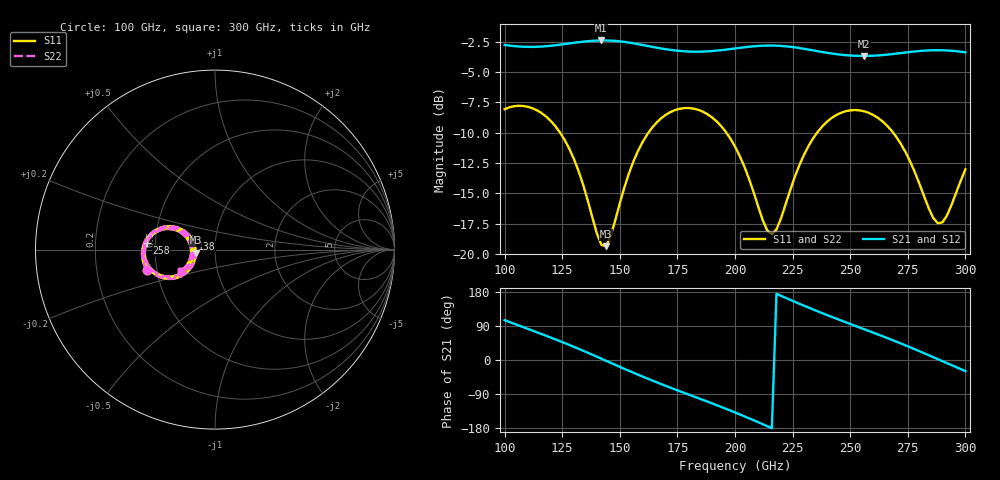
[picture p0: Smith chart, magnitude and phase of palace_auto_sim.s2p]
#  GHZ S DB R 50
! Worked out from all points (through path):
!   101 points, 100 GHz to 300 GHz, reference 50 ohm
!   highest |S21| = -2.40 dB at 142 GHz (marker M1); lowest = -3.7 dB at 256 GHz (marker M2)
!   group delay of S21, straight-line fit = 6.87 ps
!   lowest |S11| = -19.4 dB at 144 GHz (marker M3), VSWR 1.24, Z = 40.4 - j1.46 ohm
!   |S11| at or under -10 dB: 124.1 GHz to 162.5 GHz (38.37 GHz wide, 26.8 % of centre); 196.2 GHz to 235.7 GHz (39.43 GHz wide, 18.3 % of centre); 268.6 GHz to end of sweep
!   |S22| runs from -19.4 to -7.8 dB; largest |S21 - S12| = 8.7e-14
!   S11 on the Smith chart (normalised r, x): 100 GHz: 0.44, -0.12; 138 GHz: 0.77, +0.10; 258 GHz: 0.45, +0.04; 300 GHz: 0.66, -0.16
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100  -8.06 -162.9  -2.77 105.2  -2.77 105.2  -8.06 -163.0
118  -8.67 165.8  -2.88 64.0  -2.88 64.0  -8.67 165.8
126  -10.58 153.9  -2.70 44.9  -2.70 44.9  -10.58 153.8
134  -14.24 148.5  -2.51 24.7  -2.51 24.7  -14.25 148.5
138  -16.93 154.5  -2.44 14.1  -2.44 14.1  -16.94 154.5
142  -19.24 174.8  -2.40 3.5  -2.40 3.5  -19.27 174.8
144  -19.35 -170.4  -2.40 -1.9  -2.40 -1.9  -19.37 -170.4
156  -12.33 -141.8  -2.64 -33.8  -2.64 -33.8  -12.33 -141.8
168  -8.81 -157.6  -3.07 -63.6  -3.07 -63.6  -8.81 -157.5
184  -8.12 176.2  -3.33 -100.5  -3.33 -100.5  -8.12 176.2
200  -11.14 153.6  -3.06 -138.4  -3.06 -138.4  -11.14 153.7
208  -14.87 152.6  -2.89 -158.8  -2.89 -158.8  -14.86 152.7
216  -18.37 -176.1  -2.82 -180.0  -2.82 -180.0  -18.36 -176.1
224  -14.71 -146.2  -2.93 158.7  -2.93 158.7  -14.71 -146.2
234  -10.44 -150.0  -3.22 133.1  -3.22 133.1  -10.44 -150.0
244  -8.55 -164.1  -3.53 109.0  -3.53 109.0  -8.54 -164.0
256  -8.24 177.3  -3.68 81.4  -3.68 81.4  -8.24 177.4
258  -8.36 174.3  -3.67 76.8  -3.67 76.8  -8.36 174.3
268  -9.85 160.3  -3.53 53.3  -3.53 53.3  -9.85 160.4
280  -14.19 154.6  -3.28 23.3  -3.28 23.3  -14.19 154.7
288  -17.47 178.9  -3.21 2.3  -3.21 2.3  -17.47 179.0
300  -13.03 -148.3  -3.38 -29.3  -3.38 -29.3  -13.02 -148.1
